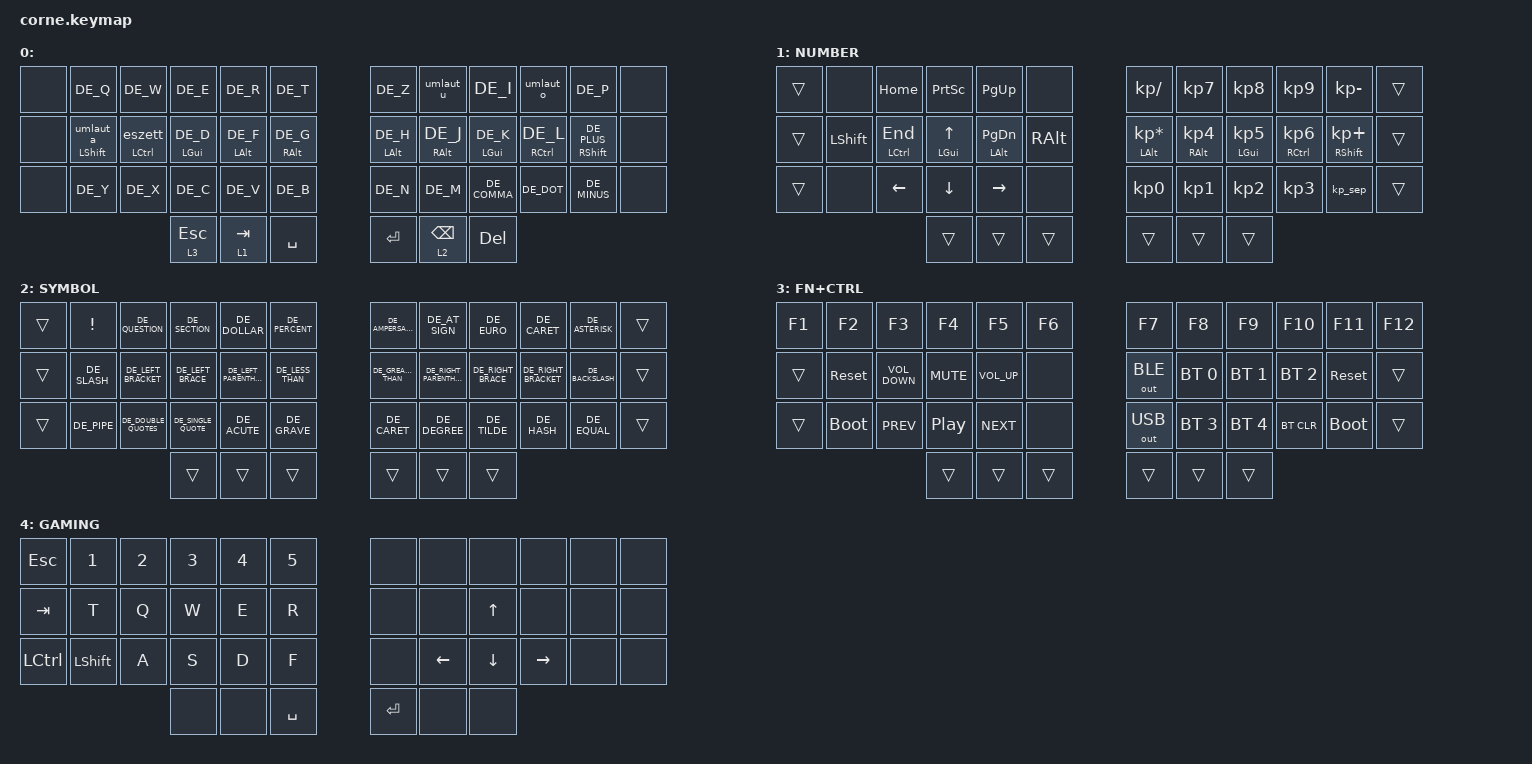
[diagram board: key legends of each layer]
#include <behaviors.dtsi>
#include <dt-bindings/zmk/bt.h>
#include <dt-bindings/zmk/keys.h>
#include <dt-bindings/zmk/outputs.h>
#include <locale/keys_de.h>

#define DEFAULT     0
#define NUMBER      1
#define SYMBOL      2
#define FUNC        3
#define GAME        4
#define KEYS_LEFT   0 1 2 3 4 5 12 13 14 15 16 17 24 25 26 27 28 29 36 37 38
#define KEYS_RIGHT  6 7 8 9 10 11 18 19 20 21 22 23 30 31 32 33 34 35 39 40 41
#define THUMBS      36 37 38 39 40 41
#define HM_TAPPING_TERM 300
#define HM_QUICK_TAP 200
#define HM_PRIOR_IDLE 0

&lt {
    tapping-term-ms = <300>;
    flavor = "hold-preferred";
    quick-tap-ms = <200>;
};

/ {
    behaviors {
        umlaut_a: umlaut_a {
            compatible = "zmk,behavior-mod-morph";
            label = "Umlaut A";
            #binding-cells = <0>;
            bindings = <&kp DE_A>, <&kp DE_A_UMLAUT>;

            mods = <(MOD_LGUI|MOD_RGUI)>;
        };

        umlaut_o: umlaut_o {
            compatible = "zmk,behavior-mod-morph";
            label = "Umlaut O";
            #binding-cells = <0>;
            bindings = <&kp DE_O>, <&kp DE_O_UMLAUT>;

            mods = <(MOD_LGUI|MOD_RGUI)>;
        };

        umlaut_u: umlaut_u {
            compatible = "zmk,behavior-mod-morph";
            label = "Umlaut U";
            #binding-cells = <0>;
            bindings = <&kp DE_U>, <&kp DE_U_UMLAUT>;

            mods = <(MOD_LGUI|MOD_RGUI)>;
        };

        eszett: eszett {
            compatible = "zmk,behavior-mod-morph";
            label = "Eszett";
            #binding-cells = <0>;
            bindings = <&kp DE_S>, <&kp DE_SZ>;

            mods = <(MOD_LGUI|MOD_RGUI)>;
        };

        hm_l: homerow_mods_left {
            compatible = "zmk,behavior-hold-tap";
            label = "Homerow Mods Left";
            #binding-cells = <2>;
            bindings = <&kp>, <&kp>;

            flavor = "balanced";
            tapping-term-ms = <HM_TAPPING_TERM>;
            quick-tap-ms = <HM_QUICK_TAP>;
            require-prior-idle-ms = <HM_PRIOR_IDLE>;
            hold-trigger-key-positions = <KEYS_RIGHT THUMBS>;
            hold-trigger-on-release;
        };

        hm_r: homerow_mods_right {
            compatible = "zmk,behavior-hold-tap";
            label = "Homerow Mods Right";
            #binding-cells = <2>;
            bindings = <&kp>, <&kp>;

            flavor = "balanced";
            tapping-term-ms = <HM_TAPPING_TERM>;
            quick-tap-ms = <HM_QUICK_TAP>;
            require-prior-idle-ms = <HM_PRIOR_IDLE>;
            hold-trigger-key-positions = <KEYS_LEFT THUMBS>;
            hold-trigger-on-release;
        };

        hm_a: homerow_mod_a {
            compatible = "zmk,behavior-hold-tap";
            label = "Homerow Mod A";
            #binding-cells = <2>;
            bindings = <&kp>, <&umlaut_a>;

            flavor = "balanced";
            tapping-term-ms = <HM_TAPPING_TERM>;
            quick-tap-ms = <HM_QUICK_TAP>;
            require-prior-idle-ms = <HM_PRIOR_IDLE>;
            hold-trigger-key-positions = <KEYS_RIGHT THUMBS>;
            hold-trigger-on-release;
        };

        hm_s: homerow_mod_s {
            compatible = "zmk,behavior-hold-tap";
            label = "Homerow Mod S";
            #binding-cells = <2>;
            bindings = <&kp>, <&eszett>;

            flavor = "balanced";
            tapping-term-ms = <HM_TAPPING_TERM>;
            quick-tap-ms = <HM_QUICK_TAP>;
            require-prior-idle-ms = <HM_PRIOR_IDLE>;
            hold-trigger-key-positions = <KEYS_RIGHT THUMBS>;
            hold-trigger-on-release;
        };

        kp_sep: kp_seperator {
            compatible = "zmk,behavior-mod-morph";
            label = "Keypad Seperator";
            bindings = <&kp KP_COMMA>, <&kp KP_DOT>;

            #binding-cells = <0>;
            mods = <(MOD_LSFT)>;
        };
    };

    combos {
        compatible = "zmk,combos";

        toggle_game_layer {
            bindings = <&tog 4>;
            key-positions = <6 5>;
        };

        suspend {
            bindings = <&kp C_SLEEP_MODE>;
            key-positions = <17 18>;
        };
    };

    keymap {
        compatible = "zmk,keymap";

        default_layer {
            display-name = "";
            bindings = <
&none  &kp DE_Q            &kp DE_W              &kp DE_E             &kp DE_R             &kp DE_T                &kp DE_Z             &umlaut_u             &kp DE_I             &umlaut_o                 &kp DE_P                   &none
&none  &hm_a LEFT_SHIFT 0  &hm_s LEFT_CONTROL 0  &hm_l LEFT_GUI DE_D  &hm_l LEFT_ALT DE_F  &hm_l RIGHT_ALT DE_G    &hm_r LEFT_ALT DE_H  &hm_r RIGHT_ALT DE_J  &hm_r LEFT_GUI DE_K  &hm_r RIGHT_CONTROL DE_L  &hm_r RIGHT_SHIFT DE_PLUS  &none
&none  &kp DE_Y            &kp DE_X              &kp DE_C             &kp DE_V             &kp DE_B                &kp DE_N             &kp DE_M              &kp DE_COMMA         &kp DE_DOT                &kp DE_MINUS               &none
                                                 &lt 3 ESCAPE         &lt 1 TAB            &kp SPACE               &kp ENTER            &lt 2 BACKSPACE       &kp DELETE
            >;
        };

        number_layer {
            display-name = "NUMBER";
            bindings = <
&trans  &none           &kp HOME                &kp PRINTSCREEN          &kp PAGE_UP               &none            &kp KP_DIVIDE               &kp KP_NUMBER_7              &kp KP_NUMBER_8             &kp KP_NUMBER_9                  &kp KP_MINUS               &trans
&trans  &kp LEFT_SHIFT  &hm_l LEFT_CONTROL END  &hm_l LEFT_GUI UP_ARROW  &hm_l LEFT_ALT PAGE_DOWN  &kp RIGHT_ALT    &hm_r LEFT_ALT KP_MULTIPLY  &hm_r RIGHT_ALT KP_NUMBER_4  &hm_r LEFT_GUI KP_NUMBER_5  &hm_r RIGHT_CONTROL KP_NUMBER_6  &hm_r RIGHT_SHIFT KP_PLUS  &trans
&trans  &none           &kp LEFT_ARROW          &kp DOWN_ARROW           &kp RIGHT_ARROW           &none            &kp KP_NUMBER_0             &kp KP_NUMBER_1              &kp KP_NUMBER_2             &kp KP_NUMBER_3                  &kp_sep                    &trans
                                                &trans                   &trans                    &trans           &trans                      &trans                       &trans
            >;
        };

        symbol_layer {
            display-name = "SYMBOL";
            bindings = <
&trans  &kp EXCL      &kp DE_QUESTION       &kp DE_SECTION       &kp DE_DOLLAR            &kp DE_PERCENT      &kp DE_AMPERSAND     &kp DE_AT_SIGN            &kp DE_EURO         &kp DE_CARET          &kp DE_ASTERISK   &trans
&trans  &kp DE_SLASH  &kp DE_LEFT_BRACKET   &kp DE_LEFT_BRACE    &kp DE_LEFT_PARENTHESIS  &kp DE_LESS_THAN    &kp DE_GREATER_THAN  &kp DE_RIGHT_PARENTHESIS  &kp DE_RIGHT_BRACE  &kp DE_RIGHT_BRACKET  &kp DE_BACKSLASH  &trans
&trans  &kp DE_PIPE   &kp DE_DOUBLE_QUOTES  &kp DE_SINGLE_QUOTE  &kp DE_ACUTE             &kp DE_GRAVE        &kp DE_CARET         &kp DE_DEGREE             &kp DE_TILDE        &kp DE_HASH           &kp DE_EQUAL      &trans
                                            &trans               &trans                   &trans              &trans               &trans                    &trans
            >;
        };

        func_layer {
            display-name = "FN+CTRL";
            bindings = <
&kp F1  &kp F2       &kp F3             &kp F4            &kp F5        &kp F6    &kp F7        &kp F8        &kp F9        &kp F10       &kp F11      &kp F12
&trans  &sys_reset   &kp C_VOLUME_DOWN  &kp C_MUTE        &kp C_VOL_UP  &none     &out OUT_BLE  &bt BT_SEL 0  &bt BT_SEL 1  &bt BT_SEL 2  &sys_reset   &trans
&trans  &bootloader  &kp C_PREV         &kp C_PLAY_PAUSE  &kp C_NEXT    &none     &out OUT_USB  &bt BT_SEL 3  &bt BT_SEL 4  &bt BT_CLR    &bootloader  &trans
                                        &trans            &trans        &trans    &trans        &trans        &trans
            >;
        };

        game_layer {
            display-name = "GAMING";
            bindings = <
&kp ESC           &kp NUMBER_1    &kp NUMBER_2  &kp NUMBER_3  &kp NUMBER_4  &kp NUMBER_5    &none    &none           &none           &none            &none  &none
&kp TAB           &kp T           &kp Q         &kp W         &kp E         &kp R           &none    &none           &kp UP_ARROW    &none            &none  &none
&kp LEFT_CONTROL  &kp LEFT_SHIFT  &kp A         &kp S         &kp D         &kp F           &none    &kp LEFT_ARROW  &kp DOWN_ARROW  &kp RIGHT_ARROW  &none  &none
                                                &none         &none         &kp SPACE       &kp RET  &none           &none
            >;
        };
    };
};
